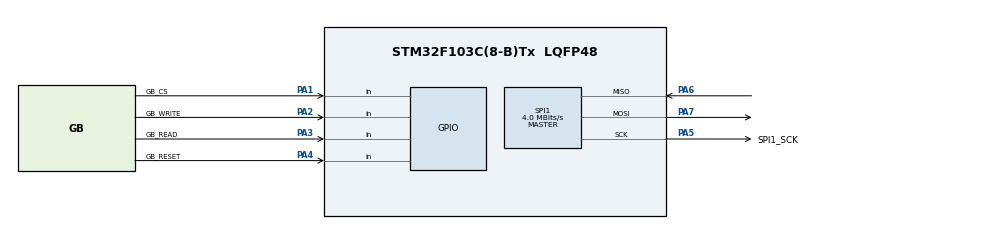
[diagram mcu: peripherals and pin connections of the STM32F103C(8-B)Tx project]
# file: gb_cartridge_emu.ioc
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Mcu.Family=STM32F1
Mcu.Name=STM32F103C(8-B)Tx
Mcu.Package=LQFP48
NVIC.PriorityGroup=NVIC_PRIORITYGROUP_4
PA1.GPIO_Label=GB_CS
PA1.Signal=GPIO_Input
PA2.GPIO_Label=GB_WRITE
PA2.Signal=GPIO_Input
PA3.GPIO_Label=GB_READ
PA3.Signal=GPIO_Input
PA4.GPIO_Label=GB_RESET
PA4.Signal=GPIO_Input
PA5.GPIO_Label=SPI1_SCK
PA5.Mode=Full_Duplex_Master
PA5.Signal=SPI1_SCK
PA6.Mode=Full_Duplex_Master
PA6.Signal=SPI1_MISO
PA7.Mode=Full_Duplex_Master
PA7.Signal=SPI1_MOSI
ProjectManager.HeapSize=0x200
ProjectManager.StackSize=0x400
ProjectManager.TargetToolchain=STM32CubeIDE
RCC.APB1Freq_Value=8000000
RCC.APB2Freq_Value=8000000
SPI1.CalculateBaudRate=4.0 MBits/s
SPI1.Direction=SPI_DIRECTION_2LINES
SPI1.Mode=SPI_MODE_MASTER
SPI1.VirtualType=VM_MASTER
VP_SYS_VS_ND.Mode=No_Debug
board=custom

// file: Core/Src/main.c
/* USER CODE BEGIN Header */
/**
  ******************************************************************************
  * @file           : main.c
  * @brief          : Main program body
  ******************************************************************************
  * @attention
  *
  * Copyright (c) 2022 STMicroelectronics.
  * All rights reserved.
  *
  * This software is licensed under terms that can be found in the LICENSE file
  * in the root directory of this software component.
  * If no LICENSE file comes with this software, it is provided AS-IS.
  *
  ******************************************************************************
  */
/* USER CODE END Header */
#include "main.h"

SPI_HandleTypeDef hspi1;

void SystemClock_Config(void);
static void MX_GPIO_Init(void);
static void MX_SPI1_Init(void);
/* USER CODE BEGIN PFP */
uint8_t spi_flash_read(uint16_t* addr);
void spi_flash_write(uint16_t* addr, uint16_t val);

void address_bus_init(void);
uint16_t address_bus_read(void);

void memory_bus_init(void);
void memory_bus_write(uint8_t val);

void game_load(void);
void game_state(void);

void bios_load(void);
void bios_state(void);
/* USER CODE END PFP */

/* USER CODE BEGIN 0 */
State_e current_state = BIOS;
//uint8_t cart_mem[CART_MEM_SIZE];

/* USER CODE END 0 */

int main(void)
{

  /* MCU Configuration--------------------------------------------------------*/

  /* Reset of all peripherals, Initializes the Flash interface and the Systick. */
  HAL_Init();

  /* Configure the system clock */
  SystemClock_Config();

  /* Initialize all configured peripherals */
  MX_GPIO_Init();
  MX_SPI1_Init();

  /* Infinite loop */
  while (1)
  {
	  switch(current_state)
	  {
		  case BIOS:
		  {
			  bios_state();
			  break;
		  }
		  case GAME:
		  {
			  game_state();
			  break;
		  }
		  case CONTROLLER:
		  {
			  game_state();
			  break;
		  }
		  default:
		  {
			  break;
		  }
	  }

  }
}

void SystemClock_Config(void)
{
  RCC_OscInitTypeDef RCC_OscInitStruct = {0};
  RCC_ClkInitTypeDef RCC_ClkInitStruct = {0};

  /** Initializes the RCC Oscillators according to the specified parameters
  * in the RCC_OscInitTypeDef structure.
  */
  RCC_OscInitStruct.OscillatorType = RCC_OSCILLATORTYPE_HSI;
  RCC_OscInitStruct.HSIState = RCC_HSI_ON;
  RCC_OscInitStruct.HSICalibrationValue = RCC_HSICALIBRATION_DEFAULT;
  RCC_OscInitStruct.PLL.PLLState = RCC_PLL_NONE;
  if (HAL_RCC_OscConfig(&RCC_OscInitStruct) != HAL_OK)
  {
    Error_Handler();
  }
  /** Initializes the CPU, AHB and APB buses clocks
  */
  RCC_ClkInitStruct.ClockType = RCC_CLOCKTYPE_HCLK|RCC_CLOCKTYPE_SYSCLK
                              |RCC_CLOCKTYPE_PCLK1|RCC_CLOCKTYPE_PCLK2;
  RCC_ClkInitStruct.SYSCLKSource = RCC_SYSCLKSOURCE_HSI;
  RCC_ClkInitStruct.AHBCLKDivider = RCC_SYSCLK_DIV1;
  RCC_ClkInitStruct.APB1CLKDivider = RCC_HCLK_DIV1;
  RCC_ClkInitStruct.APB2CLKDivider = RCC_HCLK_DIV1;

  if (HAL_RCC_ClockConfig(&RCC_ClkInitStruct, FLASH_LATENCY_0) != HAL_OK)
  {
    Error_Handler();
  }
}

static void MX_SPI1_Init(void)
{

  /* SPI1 parameter configuration*/
  hspi1.Instance = SPI1;
  hspi1.Init.Mode = SPI_MODE_MASTER;
  hspi1.Init.Direction = SPI_DIRECTION_2LINES;
  hspi1.Init.DataSize = SPI_DATASIZE_8BIT;
  hspi1.Init.CLKPolarity = SPI_POLARITY_LOW;
  hspi1.Init.CLKPhase = SPI_PHASE_1EDGE;
  hspi1.Init.NSS = SPI_NSS_SOFT;
  hspi1.Init.BaudRatePrescaler = SPI_BAUDRATEPRESCALER_2;
  hspi1.Init.FirstBit = SPI_FIRSTBIT_MSB;
  hspi1.Init.TIMode = SPI_TIMODE_DISABLE;
  hspi1.Init.CRCCalculation = SPI_CRCCALCULATION_DISABLE;
  hspi1.Init.CRCPolynomial = 10;
  if (HAL_SPI_Init(&hspi1) != HAL_OK)
  {
    Error_Handler();
  }

}

static void MX_GPIO_Init(void)
{
  GPIO_InitTypeDef GPIO_InitStruct = {0};

  /* GPIO Ports Clock Enable */
  __HAL_RCC_GPIOA_CLK_ENABLE();

  /*Configure GPIO pins : GB_CS_Pin GB_WRITE_Pin GB_READ_Pin GB_RESET_Pin */
  GPIO_InitStruct.Pin = GB_CS_Pin|GB_WRITE_Pin|GB_READ_Pin|GB_RESET_Pin;
  GPIO_InitStruct.Mode = GPIO_MODE_INPUT;
  GPIO_InitStruct.Pull = GPIO_NOPULL;
  HAL_GPIO_Init(GPIOA, &GPIO_InitStruct);

}

/* USER CODE BEGIN 4 */

uint8_t spi_flash_read(uint16_t* addr)
{
	return 0;
}

void spi_flash_write(uint16_t* addr, uint16_t val)
{

}

void address_bus_init(void)
{
	//init clock for port
}

uint16_t address_bus_read(void)
{
	// gb cart address bus is 15 bit so clear the msb
	return (uint16_t)(ADDRESS_BUS->IDR & (0x01 << 15));
}

void memory_bus_init(void)
{

}

void memory_bus_write(uint8_t val)
{

}

void game_load(void)
{

}

void game_state(void)
{

}

void bios_load(void)
{

}

void bios_state(void)
{
	if(!HAL_GPIO_ReadPin(GB_CS_GPIO_Port, GB_CS_Pin))
	{
		return;
	}

	uint16_t address = address_bus_read() + BIOS_START_ADDR;
	uint8_t val = spi_flash_read(&address);

	memory_bus_write(val);
}

/* USER CODE END 4 */

void Error_Handler(void)
{
  __disable_irq();
  while (1)
  {
  }
}
